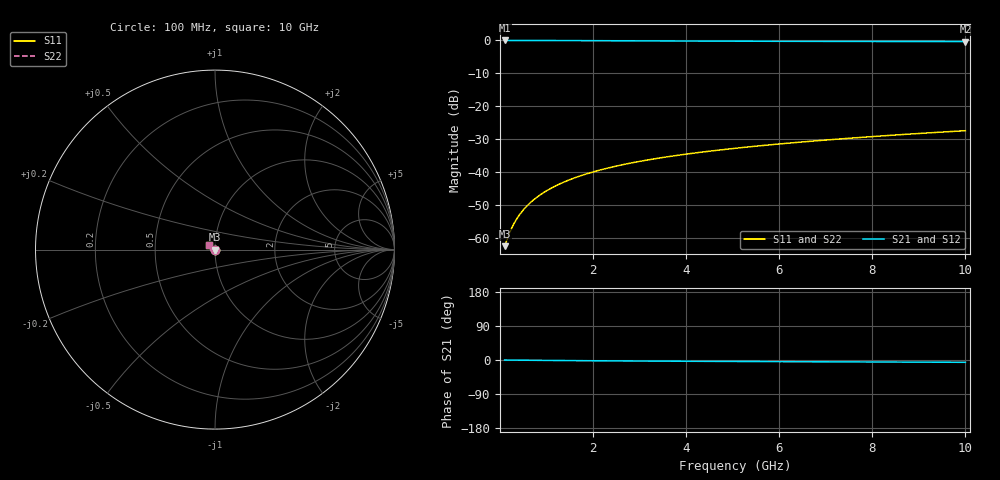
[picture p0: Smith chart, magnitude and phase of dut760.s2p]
! Touchstone file exported from HFSS 2024.1.0
!  File:  C:/UserFiles/LocalFiles/RDL_TSV_Batchsim/temp_TSV1_760_1779872188.aedt
!  Generated:  05:06:46 PM May 27, 2026
!  Design:  TSV1
!  Project:  temp_TSV1_760_1779872188
!  Setup:  Setup1
!  Solution:  Sweep
! Variables:
!  dtsv = 5.18um
!  hbump = 3um
!  htsv = 90.14um
!  lrdl = 252.1521522um
!  p = 40
!  p1 = 49.6um
!  t = 500um
!  trdl = 3um
!  wrdl = 24.89489489um
# GHz S MA R 50.000000
! Terminal data exported
! Port[1] = TSV22_T1
! Port[2] = TSV22_T2
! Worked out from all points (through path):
!   100 points, 100 MHz to 10 GHz, reference 50 ohm
!   highest |S21| = -0.01 dB at 100 MHz (marker M1); lowest = -0.3 dB at 10 GHz (marker M2)
!   lowest |S11| = -62.4 dB at 100 MHz (marker M3), VSWR 1.00, Z = 50.1 - j0.0541 ohm
!   |S11| at or under -10 dB: start of sweep to end of sweep
!   |S22| runs from -62.4 to -27.4 dB; largest |S21 - S12| = 4.2e-15
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0.1  0.0007629 -45.1  0.9994 -0.1  0.9994 -0.1  0.0007629 -45.1
! Gamma 0 0 0 0
! Port Impedance 50 0 50 0
0.2  0.001193 -66.5  0.9993 -0.2  0.9993 -0.2  0.001193 -66.5
0.3  0.001679 -77.5  0.9992 -0.3  0.9992 -0.3  0.001679 -77.5
0.4  0.002184 -84.6  0.999 -0.4  0.999 -0.4  0.002184 -84.6
0.5  0.002696 -89.9  0.9988 -0.5  0.9988 -0.5  0.002696 -89.9
0.6  0.003211 -94.3  0.9986 -0.6  0.9986 -0.6  0.003211 -94.3
0.7  0.003725 -98.1  0.9983 -0.8  0.9983 -0.8  0.003725 -98.1
0.8  0.004239 -101.6  0.998 -0.9  0.998 -0.9  0.004239 -101.6
0.9  0.004751 -104.8  0.9976 -1.0  0.9976 -1.0  0.004751 -104.8
1  0.005261 -107.8  0.9972 -1.1  0.9972 -1.1  0.005261 -107.8
1.2  0.006272 -113.5  0.9963 -1.3  0.9963 -1.3  0.006272 -113.5
1.5  0.007762 -121.2  0.9948 -1.5  0.9948 -1.5  0.007762 -121.2
1.8  0.009217 -128.4  0.993 -1.8  0.993 -1.8  0.009217 -128.4
2.1  0.01064 -135.1  0.9912 -2.1  0.9912 -2.1  0.01064 -135.1
2.5  0.01247 -143.4  0.9886 -2.4  0.9886 -2.4  0.01247 -143.4
2.9  0.01425 -151.0  0.986 -2.7  0.986 -2.7  0.01425 -151.0
3.4  0.01641 -159.8  0.9829 -3.0  0.9829 -3.0  0.01641 -159.8
4.2  0.01974 -172.0  0.9784 -3.4  0.9784 -3.4  0.01974 -172.0
5.1  0.02339 176.5  0.9741 -3.9  0.9741 -3.9  0.02339 176.5
6.7  0.02976 160.4  0.9682 -4.6  0.9682 -4.6  0.02975 160.4
8.4  0.03651 147.8  0.9639 -5.4  0.9639 -5.4  0.0365 147.8
10  0.04289 138.7  0.9609 -6.1  0.9609 -6.1  0.04289 138.7
